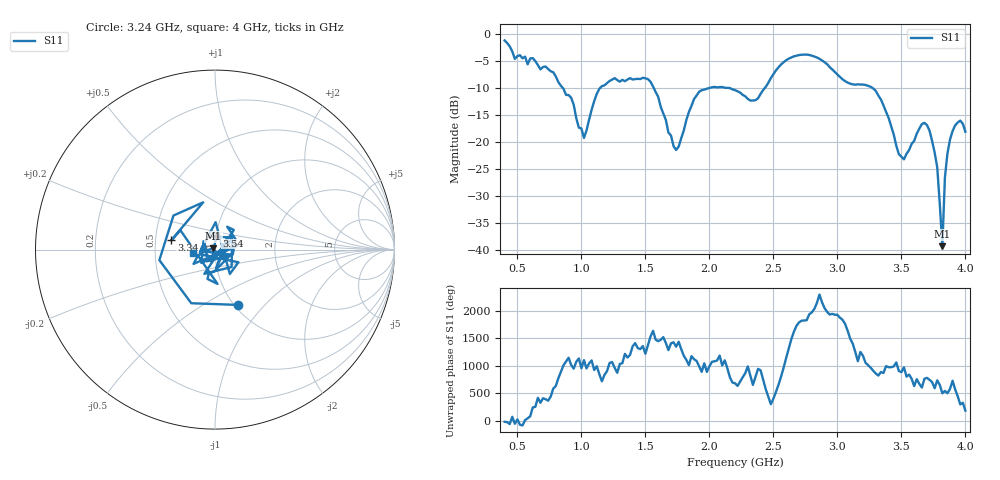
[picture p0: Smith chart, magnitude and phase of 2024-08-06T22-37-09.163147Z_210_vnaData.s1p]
!Created with skrf (http://scikit-rf.org).
# Hz S RI R 50.0
!freq ReS11 ImS11
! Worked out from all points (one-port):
!   181 points, 400 MHz to 4 GHz, reference 50 ohm
!   lowest |S11| = -39.2 dB at 3.82 GHz (marker M1), VSWR 1.02, Z = 49.1 + j0.649 ohm
!   |S11| at or under -10 dB: 857.5 MHz to 1.143 GHz (285.8 MHz wide, 28.6 % of centre); 1.567 GHz to 1.99 GHz (423.8 MHz wide, 23.8 % of centre); 3.279 GHz to end of sweep (the widest 3 of 4)
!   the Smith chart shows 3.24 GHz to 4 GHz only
!   S11 on the Smith chart (normalised r, x): 3.24 GHz: 1.04, -0.72; 3.34 GHz: 0.61, +0.07; 3.54 GHz: 1.00, +0.16; 4 GHz: 0.78, -0.03
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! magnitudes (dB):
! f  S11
! 400 MHz  -1.1
! 480 MHz  -4.5
! 620 MHz  -4.4
! 860 MHz  -10.1
! 1.02 GHz  -19.2
! 1.14 GHz  -10.1
! 1.3 GHz  -8.8
! 1.54 GHz  -8.8
! 1.72 GHz  -20.7
! 1.76 GHz  -20.8
! 1.92 GHz  -10.6
! 2.2 GHz  -10.3
! 2.36 GHz  -12.2
! 2.66 GHz  -4.1
! 3.1 GHz  -9.1
! 3.24 GHz  -9.5
! 3.34 GHz  -12.1
! 3.48 GHz  -22.2
! 3.54 GHz  -22.1
! 3.56 GHz  -21.4
! 3.66 GHz  -16.6
! 3.72 GHz  -17.8
! 3.78 GHz  -24.6
! 3.82 GHz  -39.2
! 3.84 GHz  -26.5
! 3.88 GHz  -19.5
! 3.96 GHz  -16.0
! 4 GHz  -18.0
